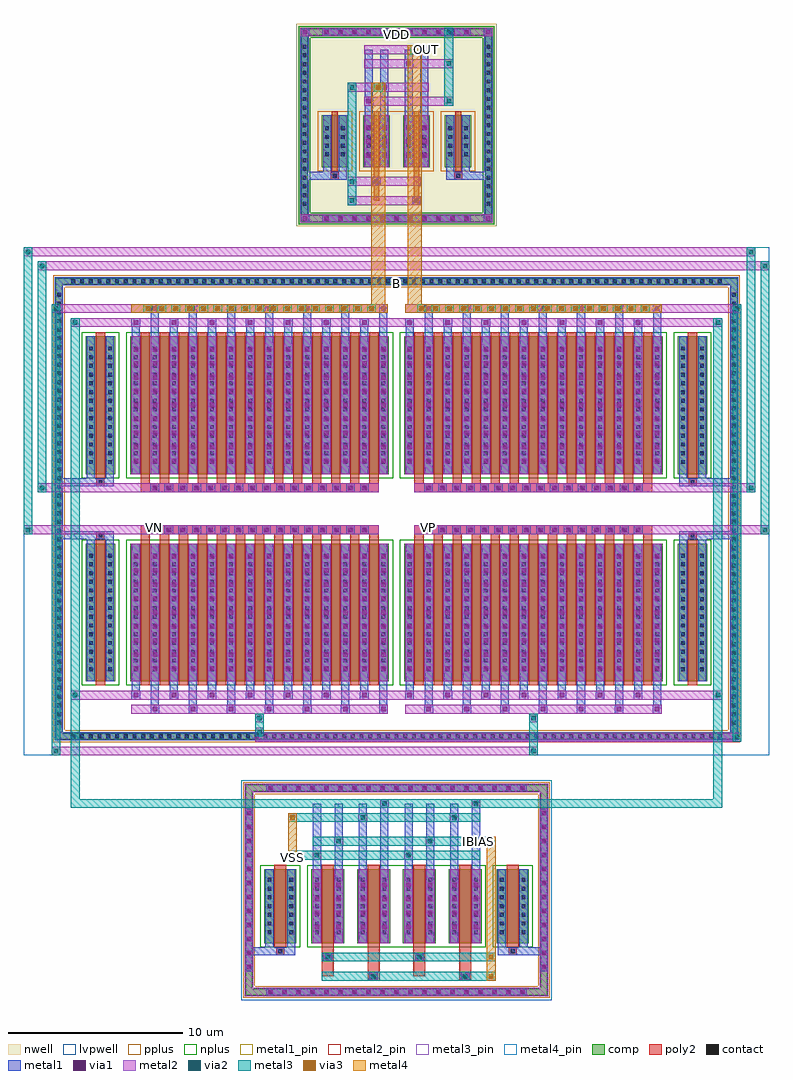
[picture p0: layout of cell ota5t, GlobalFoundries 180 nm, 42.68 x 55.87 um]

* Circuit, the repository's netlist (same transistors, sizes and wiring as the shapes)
* NGSPICE file created from ota5t.ext - technology: gf180mcuD

.subckt ota5t B VSS IBIAS VN VP VDD OUT
X0 a_n2822_1714# VP a_n3048_n658# B nfet_03v3 ad=2.2064p pd=8.44u as=2.2064p ps=8.44u w=7.88u l=0.53u
X1 a_n3048_n658# VN OUT B nfet_03v3 ad=2.2064p pd=8.44u as=2.2064p ps=8.44u w=7.88u l=0.53u
X2 a_n3048_n658# IBIAS VSS B nfet_03v3 ad=2.538p pd=9.66u as=2.538p ps=9.66u w=4.23u l=0.68u
X3 a_n3048_n658# VP a_n2822_1714# B nfet_03v3 ad=2.2064p pd=8.44u as=2.2064p ps=8.44u w=7.88u l=0.53u
X4 a_n3048_n658# VP a_n2822_1714# B nfet_03v3 ad=2.2064p pd=8.44u as=2.2064p ps=8.44u w=7.88u l=0.53u
X5 a_n2822_1714# VP a_n3048_n658# B nfet_03v3 ad=4.728p pd=16.96u as=2.2064p ps=8.44u w=7.88u l=0.53u
X6 a_n2822_1714# VP a_n3048_n658# B nfet_03v3 ad=2.2064p pd=8.44u as=2.2064p ps=8.44u w=7.88u l=0.53u
X7 a_n2822_1714# VP a_n3048_n658# B nfet_03v3 ad=4.728p pd=16.96u as=2.2064p ps=8.44u w=7.88u l=0.53u
X8 a_n2822_1714# VP a_n3048_n658# B nfet_03v3 ad=2.2064p pd=8.44u as=2.2064p ps=8.44u w=7.88u l=0.53u
X9 a_n3048_n658# VP a_n2822_1714# B nfet_03v3 ad=2.2064p pd=8.44u as=2.2064p ps=8.44u w=7.88u l=0.53u
X10 a_n3048_n658# VP a_n2822_1714# B nfet_03v3 ad=2.2064p pd=8.44u as=2.2064p ps=8.44u w=7.88u l=0.53u
X11 a_n3048_n658# VN OUT B nfet_03v3 ad=2.2064p pd=8.44u as=2.2064p ps=8.44u w=7.88u l=0.53u
X12 OUT VN a_n3048_n658# B nfet_03v3 ad=2.2064p pd=8.44u as=2.2064p ps=8.44u w=7.88u l=0.53u
X13 OUT VN a_n3048_n658# B nfet_03v3 ad=2.2064p pd=8.44u as=2.2064p ps=8.44u w=7.88u l=0.53u
X14 a_n3048_n658# VP a_n2822_1714# B nfet_03v3 ad=2.2064p pd=8.44u as=2.2064p ps=8.44u w=7.88u l=0.53u
X15 OUT VN a_n3048_n658# B nfet_03v3 ad=2.2064p pd=8.44u as=2.2064p ps=8.44u w=7.88u l=0.53u
X16 OUT VN a_n3048_n658# B nfet_03v3 ad=2.2064p pd=8.44u as=2.2064p ps=8.44u w=7.88u l=0.53u
X17 a_n3048_n658# VN OUT B nfet_03v3 ad=2.2064p pd=8.44u as=2.2064p ps=8.44u w=7.88u l=0.53u
X18 OUT VN a_n3048_n658# B nfet_03v3 ad=2.2064p pd=8.44u as=2.2064p ps=8.44u w=7.88u l=0.53u
X19 OUT VN a_n3048_n658# B nfet_03v3 ad=4.728p pd=16.96u as=2.2064p ps=8.44u w=7.88u l=0.53u
X20 a_n2822_1714# VP a_n3048_n658# B nfet_03v3 ad=2.2064p pd=8.44u as=4.728p ps=16.96u w=7.88u l=0.53u
X21 a_n3048_n658# VN OUT B nfet_03v3 ad=2.2064p pd=8.44u as=2.2064p ps=8.44u w=7.88u l=0.53u
X22 OUT a_n2822_1714# VDD VDD pfet_03v3 ad=1.794p pd=7.18u as=1.794p ps=7.18u w=2.99u l=0.34u
X23 B B B B nfet_03v3 ad=4.5704p pd=16.92u as=46.3768p ps=0.17384m w=7.88u l=0.53u
X24 a_n3048_n658# VP a_n2822_1714# B nfet_03v3 ad=2.2064p pd=8.44u as=2.2064p ps=8.44u w=7.88u l=0.53u
X25 OUT VN a_n3048_n658# B nfet_03v3 ad=2.2064p pd=8.44u as=2.2064p ps=8.44u w=7.88u l=0.53u
X26 OUT VN a_n3048_n658# B nfet_03v3 ad=2.2064p pd=8.44u as=4.728p ps=16.96u w=7.88u l=0.53u
X27 a_n3048_n658# VN OUT B nfet_03v3 ad=2.2064p pd=8.44u as=2.2064p ps=8.44u w=7.88u l=0.53u
X28 OUT VN a_n3048_n658# B nfet_03v3 ad=2.2064p pd=8.44u as=2.2064p ps=8.44u w=7.88u l=0.53u
X29 IBIAS IBIAS VSS B nfet_03v3 ad=2.538p pd=9.66u as=2.538p ps=9.66u w=4.23u l=0.68u
X30 a_n3048_n658# VN OUT B nfet_03v3 ad=2.2064p pd=8.44u as=2.2064p ps=8.44u w=7.88u l=0.53u
X31 a_n2822_1714# VP a_n3048_n658# B nfet_03v3 ad=2.2064p pd=8.44u as=2.2064p ps=8.44u w=7.88u l=0.53u
X32 a_n2822_1714# VP a_n3048_n658# B nfet_03v3 ad=2.2064p pd=8.44u as=2.2064p ps=8.44u w=7.88u l=0.53u
X33 a_n3048_n658# VP a_n2822_1714# B nfet_03v3 ad=2.2064p pd=8.44u as=2.2064p ps=8.44u w=7.88u l=0.53u
X34 a_n3048_n658# VP a_n2822_1714# B nfet_03v3 ad=2.2064p pd=8.44u as=2.2064p ps=8.44u w=7.88u l=0.53u
X35 OUT VN a_n3048_n658# B nfet_03v3 ad=2.2064p pd=8.44u as=4.728p ps=16.96u w=7.88u l=0.53u
X36 a_n2822_1714# VP a_n3048_n658# B nfet_03v3 ad=2.2064p pd=8.44u as=2.2064p ps=8.44u w=7.88u l=0.53u
X37 a_n2822_1714# VP a_n3048_n658# B nfet_03v3 ad=2.2064p pd=8.44u as=2.2064p ps=8.44u w=7.88u l=0.53u
X38 a_n3048_n658# VN OUT B nfet_03v3 ad=2.2064p pd=8.44u as=2.2064p ps=8.44u w=7.88u l=0.53u
X39 B B B B nfet_03v3 ad=4.5704p pd=16.92u as=0 ps=0 w=7.88u l=0.53u
X40 B B B B nfet_03v3 ad=4.5704p pd=16.92u as=0 ps=0 w=7.88u l=0.53u
X41 a_n2822_1714# a_n2822_1714# VDD VDD pfet_03v3 ad=1.794p pd=7.18u as=1.794p ps=7.18u w=2.99u l=0.34u
X42 a_n2822_1714# VP a_n3048_n658# B nfet_03v3 ad=2.2064p pd=8.44u as=2.2064p ps=8.44u w=7.88u l=0.53u
X43 a_n2822_1714# VP a_n3048_n658# B nfet_03v3 ad=2.2064p pd=8.44u as=4.728p ps=16.96u w=7.88u l=0.53u
X44 a_n3048_n658# VP a_n2822_1714# B nfet_03v3 ad=2.2064p pd=8.44u as=2.2064p ps=8.44u w=7.88u l=0.53u
X45 a_n3048_n658# VN OUT B nfet_03v3 ad=2.2064p pd=8.44u as=2.2064p ps=8.44u w=7.88u l=0.53u
X46 a_n2822_1714# VP a_n3048_n658# B nfet_03v3 ad=2.2064p pd=8.44u as=2.2064p ps=8.44u w=7.88u l=0.53u
X47 VDD VDD VDD VDD pfet_03v3 ad=1.7342p pd=7.14u as=10.5248p ps=42.92u w=2.99u l=0.34u
X48 a_n3048_n658# VP a_n2822_1714# B nfet_03v3 ad=2.2064p pd=8.44u as=2.2064p ps=8.44u w=7.88u l=0.53u
X49 a_n3048_n658# VN OUT B nfet_03v3 ad=2.2064p pd=8.44u as=2.2064p ps=8.44u w=7.88u l=0.53u
X50 B B B B nfet_03v3 ad=2.4534p pd=9.62u as=0 ps=0 w=4.23u l=0.68u
X51 VDD VDD VDD VDD pfet_03v3 ad=1.7342p pd=7.14u as=0 ps=0 w=2.99u l=0.34u
X52 a_n3048_n658# VN OUT B nfet_03v3 ad=2.2064p pd=8.44u as=2.2064p ps=8.44u w=7.88u l=0.53u
X53 OUT VN a_n3048_n658# B nfet_03v3 ad=2.2064p pd=8.44u as=2.2064p ps=8.44u w=7.88u l=0.53u
X54 a_n3048_n658# IBIAS VSS B nfet_03v3 ad=2.538p pd=9.66u as=2.538p ps=9.66u w=4.23u l=0.68u
X55 IBIAS IBIAS VSS B nfet_03v3 ad=2.538p pd=9.66u as=2.538p ps=9.66u w=4.23u l=0.68u
X56 a_n3048_n658# VN OUT B nfet_03v3 ad=2.2064p pd=8.44u as=2.2064p ps=8.44u w=7.88u l=0.53u
X57 OUT VN a_n3048_n658# B nfet_03v3 ad=2.2064p pd=8.44u as=2.2064p ps=8.44u w=7.88u l=0.53u
X58 OUT VN a_n3048_n658# B nfet_03v3 ad=4.728p pd=16.96u as=2.2064p ps=8.44u w=7.88u l=0.53u
X59 a_n3048_n658# VP a_n2822_1714# B nfet_03v3 ad=2.2064p pd=8.44u as=2.2064p ps=8.44u w=7.88u l=0.53u
X60 a_n3048_n658# VN OUT B nfet_03v3 ad=2.2064p pd=8.44u as=2.2064p ps=8.44u w=7.88u l=0.53u
X61 B B B B nfet_03v3 ad=4.5704p pd=16.92u as=0 ps=0 w=7.88u l=0.53u
X62 a_n2822_1714# VP a_n3048_n658# B nfet_03v3 ad=2.2064p pd=8.44u as=2.2064p ps=8.44u w=7.88u l=0.53u
X63 OUT VN a_n3048_n658# B nfet_03v3 ad=2.2064p pd=8.44u as=2.2064p ps=8.44u w=7.88u l=0.53u
X64 a_n3048_n658# VP a_n2822_1714# B nfet_03v3 ad=2.2064p pd=8.44u as=2.2064p ps=8.44u w=7.88u l=0.53u
X65 B B B B nfet_03v3 ad=2.4534p pd=9.62u as=0 ps=0 w=4.23u l=0.68u
.ends

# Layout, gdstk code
import gdstk
lib = gdstk.Library(unit=1e-6, precision=5e-09)
def R(c, l, rs):  # rectangles x0, y0, x1, y1
    for r in rs: c.add(gdstk.rectangle(r[:2], r[2:], *l))
def A(c, l, x, y, w, h, nx, ny, dx, dy):  # array of equal rectangles
    R(c, l, [(x+i*dx, y+j*dy, x+i*dx+w, y+j*dy+h) for i in range(nx) for j in range(ny)])
def P(c, l, *ps):  # polygons
    for p in ps: c.add(gdstk.Polygon(p, *l))
nwell = (21, 0)
comp = (22, 0)
poly2 = (30, 0)
pplus = (31, 0)
nplus = (32, 0)
contact = (33, 0)
metal1 = (34, 0)
metal1_pin = (34, 10)
via1 = (35, 0)
metal2 = (36, 0)
metal2_pin = (36, 10)
via2 = (38, 0)
via3 = (40, 0)
metal3 = (42, 0)
metal3_pin = (42, 10)
metal4 = (46, 0)
metal4_pin = (46, 10)
lvpwell = (204, 0)

ota5t = lib.new_cell('ota5t')
R(ota5t, nwell, [(-5.725,22.74,5.725,34.33), (-5.565,22.9,5.565,34.17), (-4.625,23.845,4.625,33.23)])
A(ota5t, comp, -7.38, -21.255, 0.36, 0.36, 19, 2, 0.8, 11.67)
A(ota5t, comp, -8.62, -19.82, 0.36, 0.36, 1, 12, 0, 0.8)
A(ota5t, comp, 8.26, -19.82, 0.36, 0.36, 1, 12, 0, 0.8)
A(ota5t, comp, -4.87, -18.275, 1.88, 4.23, 4, 1, 2.62, 0)
A(ota5t, comp, -18.68, -6.62, 0.36, 0.36, 75, 2, 0.5, 26.04)
A(ota5t, comp, -19.5, -5.85, 0.36, 0.36, 1, 50, 0, 0.5)
A(ota5t, comp, 19.14, -5.85, 0.36, 0.36, 1, 50, 0, 0.5)
A(ota5t, comp, -4.18, 23.02, 0.36, 0.36, 11, 2, 0.8, 10.67)
A(ota5t, comp, -5.445, 23.855, 0.36, 0.36, 1, 19, 0, 0.5)
A(ota5t, comp, 5.085, 23.855, 0.36, 0.36, 1, 19, 0, 0.5)
R(ota5t, comp, [(-7.38,-21.255,7.38,-20.895), (-8.62,-19.82,-8.26,-10.66), (8.26,-19.82,8.62,-10.66), (-7.57,-18.275,-5.73,-14.045), (5.73,-18.275,7.57,-14.045), (-7.38,-9.585,7.38,-9.225), (-18.68,-6.62,18.68,-6.26), (-19.5,-5.85,-19.14,19.01), (19.14,-5.85,19.5,19.01), (-17.79,-3.29,-16.1,4.59), (-15.24,-3.29,-0.43,4.59), (0.43,-3.29,15.24,4.59), (16.1,-3.29,17.79,4.59), (-17.79,8.57,-16.1,16.45), (-15.24,8.57,-0.43,16.45), (0.43,8.57,15.24,16.45), (16.1,8.57,17.79,16.45), (-18.68,19.42,18.68,19.78), (-4.18,23.02,4.18,23.38), (-5.445,23.855,-5.085,33.215), (5.085,23.855,5.445,33.215), (-4.275,26.12,-2.775,29.11), (-1.915,26.12,-0.375,29.11), (0.375,26.12,1.915,29.11), (2.775,26.12,4.275,29.11), (-4.18,33.69,4.18,34.05)])
P(ota5t, comp, [(19.5,19.78),(-19.5,19.78),(-19.5,-6.26),(-19.14,-6.26),(-19.14,19.42),(19.14,19.42),(19.14,-6.26),(-19.14,-6.26),(-19.5,-6.26),(-19.5,-6.62),(19.5,-6.62)],
  [(8.62,-9.225),(-8.62,-9.225),(-8.62,-20.895),(-8.26,-20.895),(-8.26,-9.585),(8.26,-9.585),(8.26,-20.895),(-8.26,-20.895),(-8.62,-20.895),(-8.62,-21.255),(8.62,-21.255)],
  [(5.445,34.05),(-5.445,34.05),(-5.445,23.38),(-5.085,23.38),(-5.085,33.69),(5.085,33.69),(5.085,23.38),(-5.085,23.38),(-5.445,23.38),(-5.445,23.02),(5.445,23.02)])
A(ota5t, poly2, -4.27, -18.52, 0.68, 4.72, 4, 1, 2.62, 0)
A(ota5t, poly2, -14.64, -3.53, 0.53, 8.36, 13, 2, 1.09, 11.86)
A(ota5t, poly2, 1.03, -3.53, 0.53, 8.36, 13, 2, 1.09, 11.86)
A(ota5t, poly2, -14.64, 4.83, 0.53, 0.3, 13, 2, 1.09, 3.2)
A(ota5t, poly2, 1.03, 4.83, 0.53, 0.3, 13, 2, 1.09, 3.2)
A(ota5t, poly2, -14.015, 5.2, 0.36, 0.36, 16, 2, 0.8, 2.4)
A(ota5t, poly2, 1.655, 5.2, 0.36, 0.36, 16, 2, 0.8, 2.4)
R(ota5t, poly2, [(-1.65,-20.43,-0.97,-19.93), (3.59,-20.43,4.27,-19.93), (-1.49,-20.36,-1.13,-20), (3.75,-20.36,4.11,-20), (-4.27,-20.18,-3.59,-18.52), (0.97,-20.18,1.65,-18.52), (-1.65,-19.93,-0.97,-18.52), (3.59,-19.93,4.27,-18.52), (-4.27,-19.32,-3.59,-18.82), (0.97,-19.32,1.65,-18.82), (-4.11,-19.25,-3.75,-18.89), (1.13,-19.25,1.49,-18.89), (-6.88,-18.98,-6.42,-18.52), (6.42,-18.98,6.88,-18.52), (-6.83,-18.93,-6.47,-18.57), (6.47,-18.93,6.83,-18.57), (-4.27,-18.82,-3.59,-18.52), (0.97,-18.82,1.65,-18.52), (-6.99,-18.52,-6.31,-13.8), (6.31,-18.52,6.99,-13.8), (-17.21,-3.53,-16.68,4.83), (16.68,-3.53,17.21,4.83), (-17.175,4.83,-16.715,5.29), (16.715,4.83,17.175,5.29), (-17.125,4.88,-16.765,5.24), (16.765,4.88,17.125,5.24), (-14.64,5.13,-1.03,5.63), (1.03,5.13,14.64,5.63), (-14.64,7.53,-1.03,8.03), (1.03,7.53,14.64,8.03), (-17.175,7.87,-16.715,8.33), (16.715,7.87,17.175,8.33), (-17.125,7.92,-16.765,8.28), (16.765,7.92,17.125,8.28), (-17.21,8.33,-16.68,16.69), (16.68,8.33,17.21,16.69), (0.895,23.965,1.395,24.465), (0.965,24.035,1.325,24.395), (-1.315,24.215,-0.975,25.88), (0.975,24.465,1.315,25.88), (-1.395,25.075,-0.895,25.575), (-1.325,25.145,-0.965,25.505), (-3.755,25.42,-3.295,25.88), (3.295,25.42,3.755,25.88), (-3.705,25.47,-3.345,25.83), (3.345,25.47,3.705,25.83), (-1.315,25.575,-0.975,25.88), (-3.695,25.88,-3.355,29.35), (-1.315,25.88,-0.975,29.35), (0.975,25.88,1.315,29.35), (3.355,25.88,3.695,29.35)])
R(ota5t, pplus, [(-4.505,25.89,-2.545,29.34), (-2.145,25.89,-0.145,29.34), (-2.145,25.89,2.145,29.34), (0.145,25.89,2.145,29.34), (2.545,25.89,4.505,29.34)])
P(ota5t, pplus, [(19.66,19.94),(-19.66,19.94),(-19.66,-6.1),(-18.98,-6.1),(-18.98,19.26),(18.98,19.26),(18.98,-6.1),(-18.98,-6.1),(-19.66,-6.1),(-19.66,-6.78),(19.66,-6.78)],
  [(8.78,-9.065),(-8.78,-9.065),(-8.78,-20.735),(-8.1,-20.735),(-8.1,-9.745),(8.1,-9.745),(8.1,-20.735),(-8.1,-20.735),(-8.78,-20.735),(-8.78,-21.415),(8.78,-21.415)])
A(ota5t, nplus, -5.1, -18.505, 2.34, 4.69, 4, 1, 2.62, 0)
R(ota5t, nplus, [(-7.8,-18.505,-5.5,-13.815), (-5.1,-18.505,5.1,-13.815), (5.5,-18.505,7.8,-13.815), (-18.02,-3.52,-15.87,4.82), (-15.47,-3.52,-0.2,4.82), (0.2,-3.52,15.47,4.82), (15.87,-3.52,18.02,4.82), (-18.02,8.34,-15.87,16.68), (-15.47,8.34,-0.2,16.68), (0.2,8.34,15.47,16.68), (15.87,8.34,18.02,16.68)])
P(ota5t, nplus, [(5.605,34.21),(-5.605,34.21),(-5.605,23.54),(-4.925,23.54),(-4.925,33.53),(4.925,33.53),(4.925,23.54),(-4.925,23.54),(-5.605,23.54),(-5.605,22.86),(5.605,22.86)])
A(ota5t, contact, -7.31, -21.185, 0.22, 0.22, 19, 2, 0.8, 11.67)
A(ota5t, contact, -8.55, -19.75, 0.22, 0.22, 1, 12, 0, 0.8)
A(ota5t, contact, 8.33, -19.75, 0.22, 0.22, 1, 12, 0, 0.8)
A(ota5t, contact, -7.38, -17.77, 0.22, 0.22, 1, 7, 0, 0.5)
A(ota5t, contact, -6.14, -17.77, 0.22, 0.22, 1, 7, 0, 0.5)
A(ota5t, contact, -4.66, -17.77, 0.22, 0.22, 1, 7, 0, 0.5)
A(ota5t, contact, -3.42, -17.77, 0.22, 0.22, 1, 7, 0, 0.5)
A(ota5t, contact, -2.04, -17.77, 0.22, 0.22, 1, 7, 0, 0.5)
A(ota5t, contact, -0.8, -17.77, 0.22, 0.22, 1, 7, 0, 0.5)
A(ota5t, contact, 0.58, -17.77, 0.22, 0.22, 1, 7, 0, 0.5)
A(ota5t, contact, 1.82, -17.77, 0.22, 0.22, 1, 7, 0, 0.5)
A(ota5t, contact, 3.2, -17.77, 0.22, 0.22, 1, 7, 0, 0.5)
A(ota5t, contact, 4.44, -17.77, 0.22, 0.22, 1, 7, 0, 0.5)
A(ota5t, contact, 5.92, -17.77, 0.22, 0.22, 1, 7, 0, 0.5)
A(ota5t, contact, 7.16, -17.77, 0.22, 0.22, 1, 7, 0, 0.5)
A(ota5t, contact, -18.61, -6.55, 0.22, 0.22, 75, 2, 0.5, 26.04)
A(ota5t, contact, -19.43, -5.78, 0.22, 0.22, 1, 50, 0, 0.5)
A(ota5t, contact, 19.21, -5.78, 0.22, 0.22, 1, 50, 0, 0.5)
A(ota5t, contact, -17.6, -2.71, 0.22, 0.22, 1, 14, 0, 0.5)
A(ota5t, contact, -16.51, -2.71, 0.22, 0.22, 1, 14, 0, 0.5)
A(ota5t, contact, -15.03, -2.71, 0.22, 0.22, 14, 14, 1.09, 0.5)
A(ota5t, contact, 0.64, -2.71, 0.22, 0.22, 14, 14, 1.09, 0.5)
A(ota5t, contact, 16.29, -2.71, 0.22, 0.22, 1, 14, 0, 0.5)
A(ota5t, contact, 17.38, -2.71, 0.22, 0.22, 1, 14, 0, 0.5)
A(ota5t, contact, -13.945, 5.27, 0.22, 0.22, 16, 2, 0.8, 2.4)
A(ota5t, contact, 1.725, 5.27, 0.22, 0.22, 16, 2, 0.8, 2.4)
A(ota5t, contact, -17.6, 9.15, 0.22, 0.22, 1, 14, 0, 0.5)
A(ota5t, contact, -16.51, 9.15, 0.22, 0.22, 1, 14, 0, 0.5)
A(ota5t, contact, -15.03, 9.15, 0.22, 0.22, 14, 14, 1.09, 0.5)
A(ota5t, contact, 0.64, 9.15, 0.22, 0.22, 14, 14, 1.09, 0.5)
A(ota5t, contact, 16.29, 9.15, 0.22, 0.22, 1, 14, 0, 0.5)
A(ota5t, contact, 17.38, 9.15, 0.22, 0.22, 1, 14, 0, 0.5)
A(ota5t, contact, -4.11, 23.09, 0.22, 0.22, 11, 2, 0.8, 10.67)
A(ota5t, contact, -5.375, 23.925, 0.22, 0.22, 1, 19, 0, 0.5)
A(ota5t, contact, 5.155, 23.925, 0.22, 0.22, 1, 19, 0, 0.5)
A(ota5t, contact, -4.085, 26.755, 0.22, 0.22, 1, 4, 0, 0.5)
A(ota5t, contact, -3.185, 26.755, 0.22, 0.22, 1, 4, 0, 0.5)
A(ota5t, contact, -1.705, 26.755, 0.22, 0.22, 1, 4, 0, 0.5)
A(ota5t, contact, -0.805, 26.755, 0.22, 0.22, 1, 4, 0, 0.5)
A(ota5t, contact, 0.585, 26.755, 0.22, 0.22, 1, 4, 0, 0.5)
A(ota5t, contact, 1.485, 26.755, 0.22, 0.22, 1, 4, 0, 0.5)
A(ota5t, contact, 2.965, 26.755, 0.22, 0.22, 1, 4, 0, 0.5)
A(ota5t, contact, 3.865, 26.755, 0.22, 0.22, 1, 4, 0, 0.5)
R(ota5t, contact, [(-1.42,-20.29,-1.2,-20.07), (3.82,-20.29,4.04,-20.07), (-4.04,-19.18,-3.82,-18.96), (1.2,-19.18,1.42,-18.96), (-6.76,-18.86,-6.54,-18.64), (6.54,-18.86,6.76,-18.64), (-17.055,4.95,-16.835,5.17), (16.835,4.95,17.055,5.17), (-17.055,7.99,-16.835,8.21), (16.835,7.99,17.055,8.21), (1.035,24.105,1.255,24.325), (-1.255,25.215,-1.035,25.435), (-3.635,25.54,-3.415,25.76), (3.415,25.54,3.635,25.76)])
A(ota5t, metal1, -7.45, -21.325, 0.5, 0.5, 19, 2, 0.8, 11.67)
A(ota5t, metal1, -8.69, -19.89, 0.5, 0.5, 1, 12, 0, 0.8)
A(ota5t, metal1, 8.19, -19.89, 0.5, 0.5, 1, 12, 0, 0.8)
A(ota5t, metal1, -7.5, -17.89, 0.46, 0.46, 1, 7, 0, 0.5)
A(ota5t, metal1, -6.26, -17.89, 0.46, 0.46, 1, 7, 0, 0.5)
A(ota5t, metal1, -4.78, -17.89, 0.46, 0.46, 1, 7, 0, 0.5)
A(ota5t, metal1, -3.54, -17.89, 0.46, 0.46, 1, 7, 0, 0.5)
A(ota5t, metal1, -2.16, -17.89, 0.46, 0.46, 1, 7, 0, 0.5)
A(ota5t, metal1, -0.92, -17.89, 0.46, 0.46, 1, 7, 0, 0.5)
A(ota5t, metal1, 0.46, -17.89, 0.46, 0.46, 1, 7, 0, 0.5)
A(ota5t, metal1, 1.7, -17.89, 0.46, 0.46, 1, 7, 0, 0.5)
A(ota5t, metal1, 3.08, -17.89, 0.46, 0.46, 1, 7, 0, 0.5)
A(ota5t, metal1, 4.32, -17.89, 0.46, 0.46, 1, 7, 0, 0.5)
A(ota5t, metal1, 5.8, -17.89, 0.46, 0.46, 1, 7, 0, 0.5)
A(ota5t, metal1, 7.04, -17.89, 0.46, 0.46, 1, 7, 0, 0.5)
A(ota5t, metal1, -4.8, -17.61, 0.5, 0.5, 1, 4, 0, 0.8)
A(ota5t, metal1, -3.56, -17.61, 0.5, 0.5, 1, 4, 0, 0.8)
A(ota5t, metal1, -2.18, -17.61, 0.5, 0.5, 1, 4, 0, 0.8)
A(ota5t, metal1, -0.94, -17.61, 0.5, 0.5, 1, 4, 0, 0.8)
A(ota5t, metal1, 0.44, -17.61, 0.5, 0.5, 1, 4, 0, 0.8)
A(ota5t, metal1, 1.68, -17.61, 0.5, 0.5, 1, 4, 0, 0.8)
A(ota5t, metal1, 3.06, -17.61, 0.5, 0.5, 1, 4, 0, 0.8)
A(ota5t, metal1, 4.3, -17.61, 0.5, 0.5, 1, 4, 0, 0.8)
A(ota5t, metal1, -18.73, -6.67, 0.46, 0.46, 75, 2, 0.5, 26.04)
A(ota5t, metal1, -19.55, -5.9, 0.46, 0.46, 1, 50, 0, 0.5)
A(ota5t, metal1, 19.09, -5.9, 0.46, 0.46, 1, 50, 0, 0.5)
A(ota5t, metal1, -14.08, -5.14, 0.5, 0.5, 7, 2, 2.18, 22.94)
A(ota5t, metal1, -14.06, -5.14, 0.46, 1.85, 7, 2, 2.18, 21.59)
A(ota5t, metal1, 1.59, -5.14, 0.5, 0.5, 7, 2, 2.18, 22.94)
A(ota5t, metal1, 1.61, -5.14, 0.46, 1.85, 7, 2, 2.18, 21.59)
A(ota5t, metal1, -15.17, -4.34, 0.5, 0.5, 7, 2, 2.18, 21.34)
A(ota5t, metal1, -15.15, -4.34, 0.46, 1.05, 7, 2, 2.18, 20.79)
A(ota5t, metal1, 0.5, -4.34, 0.5, 0.5, 7, 2, 2.18, 21.34)
A(ota5t, metal1, 0.52, -4.34, 0.46, 1.05, 7, 2, 2.18, 20.79)
A(ota5t, metal1, -15.15, -3.29, 0.46, 7.88, 14, 2, 1.09, 11.86)
A(ota5t, metal1, 0.52, -3.29, 0.46, 7.88, 14, 2, 1.09, 11.86)
A(ota5t, metal1, -17.72, -2.83, 0.46, 0.46, 1, 14, 0, 0.5)
A(ota5t, metal1, -16.63, -2.83, 0.46, 0.46, 1, 14, 0, 0.5)
A(ota5t, metal1, -15.15, -2.83, 0.46, 0.46, 14, 14, 1.09, 0.5)
A(ota5t, metal1, 0.52, -2.83, 0.46, 0.46, 14, 14, 1.09, 0.5)
A(ota5t, metal1, 16.17, -2.83, 0.46, 0.46, 1, 14, 0, 0.5)
A(ota5t, metal1, 17.26, -2.83, 0.46, 0.46, 1, 14, 0, 0.5)
A(ota5t, metal1, -15.17, -2.8, 0.5, 0.5, 14, 9, 1.09, 0.8)
A(ota5t, metal1, -15.17, -2.8, 0.5, 6.9, 14, 2, 1.09, 11.86)
A(ota5t, metal1, 0.5, -2.8, 0.5, 0.5, 14, 9, 1.09, 0.8)
A(ota5t, metal1, 0.5, -2.8, 0.5, 6.9, 14, 2, 1.09, 11.86)
A(ota5t, metal1, -14.085, 5.13, 0.5, 0.5, 16, 2, 0.8, 2.4)
A(ota5t, metal1, 1.585, 5.13, 0.5, 0.5, 16, 2, 0.8, 2.4)
A(ota5t, metal1, -17.72, 9.03, 0.46, 0.46, 1, 14, 0, 0.5)
A(ota5t, metal1, -16.63, 9.03, 0.46, 0.46, 1, 14, 0, 0.5)
A(ota5t, metal1, -15.15, 9.03, 0.46, 0.46, 14, 14, 1.09, 0.5)
A(ota5t, metal1, 0.52, 9.03, 0.46, 0.46, 14, 14, 1.09, 0.5)
A(ota5t, metal1, 16.17, 9.03, 0.46, 0.46, 1, 14, 0, 0.5)
A(ota5t, metal1, 17.26, 9.03, 0.46, 0.46, 1, 14, 0, 0.5)
A(ota5t, metal1, -15.17, 9.06, 0.5, 0.5, 14, 9, 1.09, 0.8)
A(ota5t, metal1, 0.5, 9.06, 0.5, 0.5, 14, 9, 1.09, 0.8)
A(ota5t, metal1, -4.25, 22.95, 0.5, 0.5, 11, 2, 0.8, 10.67)
A(ota5t, metal1, -5.495, 23.805, 0.46, 0.46, 1, 19, 0, 0.5)
A(ota5t, metal1, 5.035, 23.805, 0.46, 0.46, 1, 19, 0, 0.5)
A(ota5t, metal1, -1.845, 26.565, 0.5, 0.5, 1, 3, 0, 0.8)
A(ota5t, metal1, -0.945, 26.565, 0.5, 0.5, 1, 3, 0, 0.8)
A(ota5t, metal1, 0.445, 26.565, 0.5, 0.5, 1, 3, 0, 0.8)
A(ota5t, metal1, 1.345, 26.565, 0.5, 0.5, 1, 3, 0, 0.8)
A(ota5t, metal1, -4.205, 26.635, 0.46, 0.46, 1, 4, 0, 0.5)
A(ota5t, metal1, -3.305, 26.635, 0.46, 0.46, 1, 4, 0, 0.5)
A(ota5t, metal1, -1.825, 26.635, 0.46, 0.46, 1, 4, 0, 0.5)
A(ota5t, metal1, -0.925, 26.635, 0.46, 0.46, 1, 4, 0, 0.5)
A(ota5t, metal1, 0.465, 26.635, 0.46, 0.46, 1, 4, 0, 0.5)
A(ota5t, metal1, 1.365, 26.635, 0.46, 0.46, 1, 4, 0, 0.5)
A(ota5t, metal1, 2.845, 26.635, 0.46, 0.46, 1, 4, 0, 0.5)
A(ota5t, metal1, 3.745, 26.635, 0.46, 0.46, 1, 4, 0, 0.5)
R(ota5t, metal1, [(-7.45,-21.325,7.45,-20.825), (-1.56,-20.43,-1.06,-19.93), (3.68,-20.43,4.18,-19.93), (-8.69,-19.89,-8.19,-10.59), (8.19,-19.89,8.69,-10.59), (-4.18,-19.32,-3.68,-18.82), (1.06,-19.32,1.56,-18.82), (-8.69,-18.98,-6.88,-18.52), (-7.5,-18.98,-6.88,-18.52), (-7.5,-18.98,-7.04,-18.275), (-6.88,-18.98,-6.42,-18.52), (-6.42,-18.98,-5.8,-18.52), (-6.26,-18.98,-5.8,-18.275), (5.8,-18.98,6.42,-18.52), (5.8,-18.98,6.26,-18.275), (6.42,-18.98,6.88,-18.52), (6.88,-18.98,7.5,-18.52), (6.88,-18.98,8.69,-18.52), (7.04,-18.98,7.5,-18.275), (-7.5,-18.275,-7.04,-14.045), (-6.26,-18.275,-5.8,-14.045), (-4.78,-18.275,-4.32,-14.045), (-3.54,-18.275,-3.08,-14.045), (-2.16,-18.275,-1.7,-14.045), (-0.92,-18.275,-0.46,-14.045), (0.46,-18.275,0.92,-14.045), (1.7,-18.275,2.16,-14.045), (3.08,-18.275,3.54,-14.045), (4.32,-18.275,4.78,-14.045), (5.8,-18.275,6.26,-14.045), (7.04,-18.275,7.5,-14.045), (-4.8,-17.61,-4.3,-14.71), (-3.56,-17.61,-3.06,-14.71), (-2.18,-17.61,-1.68,-14.71), (-0.94,-17.61,-0.44,-14.71), (0.44,-17.61,0.94,-14.71), (1.68,-17.61,2.18,-14.71), (3.06,-17.61,3.56,-14.71), (4.3,-17.61,4.8,-14.71), (-4.78,-14.045,-4.32,-12.995), (-4.78,-14.045,-4.32,-10.295), (-3.54,-14.045,-3.08,-12.195), (-3.54,-14.045,-3.08,-10.295), (-2.16,-14.045,-1.7,-10.845), (-2.16,-14.045,-1.7,-10.295), (-0.92,-14.045,-0.46,-10.045), (-0.92,-14.045,-0.46,-10.295), (0.46,-14.045,0.92,-12.995), (0.46,-14.045,0.92,-10.295), (1.7,-14.045,2.16,-12.195), (1.7,-14.045,2.16,-10.295), (3.08,-14.045,3.54,-10.845), (3.08,-14.045,3.54,-10.295), (4.32,-14.045,4.78,-10.045), (4.32,-14.045,4.78,-10.295), (-4.8,-13.495,-4.3,-12.995), (0.44,-13.495,0.94,-12.995), (-3.56,-12.695,-3.06,-12.195), (1.68,-12.695,2.18,-12.195), (-2.18,-11.345,-1.68,-10.845), (3.06,-11.345,3.56,-10.845), (-0.94,-10.545,-0.44,-10.045), (4.3,-10.545,4.8,-10.045), (-7.45,-9.655,7.45,-9.155), (-19.55,-6.67,-19.14,-6.21), (-19.55,-6.67,-19.09,-6.26), (-19.14,-6.67,19.14,-6.21), (19.09,-6.67,19.55,-6.26), (19.14,-6.67,19.55,-6.21), (-19.55,-6.26,-19.09,19.42), (19.09,-6.26,19.55,19.42), (-17.72,-3.29,-17.26,4.59), (-16.63,-3.29,-16.17,4.59), (16.17,-3.29,16.63,4.59), (17.26,-3.29,17.72,4.59), (-17.72,4.59,-17.26,5.29), (-16.63,4.59,-16.17,5.29), (16.17,4.59,16.63,5.29), (17.26,4.59,17.72,5.29), (-19.55,4.83,-17.175,5.29), (-17.72,4.83,-17.175,5.29), (-17.175,4.83,-16.715,5.29), (-16.715,4.83,-16.17,5.29), (16.17,4.83,16.715,5.29), (16.715,4.83,17.175,5.29), (16.715,4.83,19.55,5.29), (17.175,4.83,17.72,5.29), (-19.55,7.87,-17.175,8.33), (-17.72,7.87,-17.175,8.33), (-17.72,7.87,-17.26,8.57), (-17.175,7.87,-16.715,8.33), (-16.715,7.87,-16.17,8.33), (-16.63,7.87,-16.17,8.57), (16.17,7.87,16.715,8.33), (16.17,7.87,16.63,8.57), (16.715,7.87,17.175,8.33), (16.715,7.87,19.55,8.33), (17.175,7.87,17.72,8.33), (17.26,7.87,17.72,8.57), (-17.72,8.57,-17.26,16.45), (-16.63,8.57,-16.17,16.45), (16.17,8.57,16.63,16.45), (17.26,8.57,17.72,16.45), (-19.55,19.37,-19.14,19.83), (-19.14,19.37,19.14,19.83), (19.14,19.37,19.55,19.83), (-19.55,19.42,-19.09,19.83), (19.09,19.42,19.55,19.83), (-5.495,22.95,-4.995,23.45), (-5.495,22.95,-4.995,23.45), (-5.495,22.95,-5.035,23.38), (-4.25,22.95,4.25,23.45), (4.995,22.95,5.495,23.45), (4.995,22.95,5.495,23.45), (5.035,22.95,5.495,23.38), (-5.495,23.38,-5.035,33.69), (5.035,23.38,5.495,33.69), (0.895,23.965,1.395,24.465), (-1.395,25.075,-0.895,25.575), (-5.495,25.42,-3.755,25.88), (-4.205,25.42,-3.745,26.12), (-4.205,25.42,-3.755,25.88), (-3.755,25.42,-3.295,25.88), (-3.305,25.42,-2.845,26.12), (-3.295,25.42,-2.845,25.88), (2.845,25.42,3.305,26.12), (2.845,25.42,3.295,25.88), (3.295,25.42,3.755,25.88), (3.745,25.42,4.205,26.12), (3.755,25.42,4.205,25.88), (3.755,25.42,5.495,25.88), (-4.205,26.12,-3.745,29.11), (-3.305,26.12,-2.845,29.11), (-1.825,26.12,-1.365,29.11), (-0.925,26.12,-0.465,29.11), (0.465,26.12,0.925,29.11), (1.365,26.12,1.825,29.11), (2.845,26.12,3.305,29.11), (3.745,26.12,4.205,29.11), (-1.845,26.565,-1.345,28.665), (-0.945,26.565,-0.445,28.665), (0.445,26.565,0.945,28.665), (1.345,26.565,1.845,28.665), (-1.825,29.11,-1.365,30.16), (-1.825,29.11,-1.365,32.86), (-0.925,29.11,-0.465,30.96), (-0.925,29.11,-0.465,32.86), (0.465,29.11,0.925,32.31), (0.465,29.11,0.925,32.86), (1.365,29.11,1.825,33.11), (1.365,29.11,1.825,32.86), (-1.845,29.66,-1.345,30.16), (-0.945,30.46,-0.445,30.96), (0.445,31.81,0.945,32.31), (1.345,32.61,1.845,33.11), (-5.495,33.62,-4.995,34.12), (-5.495,33.62,-4.995,34.12), (-4.25,33.62,4.25,34.12), (4.995,33.62,5.495,34.12), (4.995,33.62,5.495,34.12), (-5.495,33.69,-5.035,34.12), (5.035,33.69,5.495,34.12)])
R(ota5t, metal1_pin, [(-0.135,19.37,0.135,19.64), (-0.135,19.37,0.135,19.64)])
A(ota5t, via1, -7.33, -21.205, 0.26, 0.26, 19, 2, 0.8, 11.67)
A(ota5t, via1, -8.57, -19.77, 0.26, 0.26, 1, 12, 0, 0.8)
A(ota5t, via1, 8.31, -19.77, 0.26, 0.26, 1, 12, 0, 0.8)
A(ota5t, via1, -4.68, -17.49, 0.26, 0.26, 1, 4, 0, 0.8)
A(ota5t, via1, -3.44, -17.49, 0.26, 0.26, 1, 4, 0, 0.8)
A(ota5t, via1, -2.06, -17.49, 0.26, 0.26, 1, 4, 0, 0.8)
A(ota5t, via1, -0.82, -17.49, 0.26, 0.26, 1, 4, 0, 0.8)
A(ota5t, via1, 0.56, -17.49, 0.26, 0.26, 1, 4, 0, 0.8)
A(ota5t, via1, 1.8, -17.49, 0.26, 0.26, 1, 4, 0, 0.8)
A(ota5t, via1, 3.18, -17.49, 0.26, 0.26, 1, 4, 0, 0.8)
A(ota5t, via1, 4.42, -17.49, 0.26, 0.26, 1, 4, 0, 0.8)
A(ota5t, via1, -13.96, -5.02, 0.26, 0.26, 7, 2, 2.18, 22.94)
A(ota5t, via1, 1.71, -5.02, 0.26, 0.26, 7, 2, 2.18, 22.94)
A(ota5t, via1, -15.05, -4.22, 0.26, 0.26, 7, 2, 2.18, 21.34)
A(ota5t, via1, 0.62, -4.22, 0.26, 0.26, 7, 2, 2.18, 21.34)
A(ota5t, via1, -15.05, -2.68, 0.26, 0.26, 14, 9, 1.09, 0.8)
A(ota5t, via1, 0.62, -2.68, 0.26, 0.26, 14, 9, 1.09, 0.8)
A(ota5t, via1, -13.965, 5.25, 0.26, 0.26, 16, 2, 0.8, 2.4)
A(ota5t, via1, 1.705, 5.25, 0.26, 0.26, 16, 2, 0.8, 2.4)
A(ota5t, via1, -15.05, 9.18, 0.26, 0.26, 14, 9, 1.09, 0.8)
A(ota5t, via1, 0.62, 9.18, 0.26, 0.26, 14, 9, 1.09, 0.8)
A(ota5t, via1, -4.13, 23.07, 0.26, 0.26, 11, 2, 0.8, 10.67)
A(ota5t, via1, -1.725, 26.685, 0.26, 0.26, 1, 3, 0, 0.8)
A(ota5t, via1, -0.825, 26.685, 0.26, 0.26, 1, 3, 0, 0.8)
A(ota5t, via1, 0.565, 26.685, 0.26, 0.26, 1, 3, 0, 0.8)
A(ota5t, via1, 1.465, 26.685, 0.26, 0.26, 1, 3, 0, 0.8)
R(ota5t, via1, [(-1.44,-20.31,-1.18,-20.05), (3.8,-20.31,4.06,-20.05), (-4.06,-19.2,-3.8,-18.94), (1.18,-19.2,1.44,-18.94), (-4.68,-13.375,-4.42,-13.115), (0.56,-13.375,0.82,-13.115), (-3.44,-12.575,-3.18,-12.315), (1.8,-12.575,2.06,-12.315), (-2.06,-11.225,-1.8,-10.965), (3.18,-11.225,3.44,-10.965), (-0.82,-10.425,-0.56,-10.165), (4.42,-10.425,4.68,-10.165), (-5.375,23.07,-5.115,23.33), (5.115,23.07,5.375,23.33), (1.015,24.085,1.275,24.345), (-1.275,25.195,-1.015,25.455), (-1.725,29.78,-1.465,30.04), (-0.825,30.58,-0.565,30.84), (0.565,31.93,0.825,32.19), (1.465,32.73,1.725,32.99), (-5.375,33.74,-5.115,34), (5.115,33.74,5.375,34)])
A(ota5t, metal2, -7.45, -21.325, 0.5, 0.5, 19, 2, 0.8, 11.67)
A(ota5t, metal2, -8.69, -19.89, 0.5, 0.5, 1, 12, 0, 0.8)
A(ota5t, metal2, 8.19, -19.89, 0.5, 0.5, 1, 12, 0, 0.8)
A(ota5t, metal2, -4.8, -17.61, 0.5, 0.5, 1, 4, 0, 0.8)
A(ota5t, metal2, -3.56, -17.61, 0.5, 0.5, 1, 4, 0, 0.8)
A(ota5t, metal2, -2.18, -17.61, 0.5, 0.5, 1, 4, 0, 0.8)
A(ota5t, metal2, -0.94, -17.61, 0.5, 0.5, 1, 4, 0, 0.8)
A(ota5t, metal2, 0.44, -17.61, 0.5, 0.5, 1, 4, 0, 0.8)
A(ota5t, metal2, 1.68, -17.61, 0.5, 0.5, 1, 4, 0, 0.8)
A(ota5t, metal2, 3.06, -17.61, 0.5, 0.5, 1, 4, 0, 0.8)
A(ota5t, metal2, 4.3, -17.61, 0.5, 0.5, 1, 4, 0, 0.8)
A(ota5t, metal2, -14.08, -5.14, 0.5, 0.5, 7, 2, 2.18, 22.94)
A(ota5t, metal2, 1.59, -5.14, 0.5, 0.5, 7, 2, 2.18, 22.94)
A(ota5t, metal2, -15.17, -4.34, 0.5, 0.5, 7, 2, 2.18, 21.34)
A(ota5t, metal2, 0.5, -4.34, 0.5, 0.5, 7, 2, 2.18, 21.34)
A(ota5t, metal2, -15.17, -3.29, 0.5, 7.88, 14, 2, 1.09, 11.86)
A(ota5t, metal2, 0.5, -3.29, 0.5, 7.88, 14, 2, 1.09, 11.86)
A(ota5t, metal2, -15.17, -2.8, 0.5, 0.5, 14, 9, 1.09, 0.8)
A(ota5t, metal2, 0.5, -2.8, 0.5, 0.5, 14, 9, 1.09, 0.8)
A(ota5t, metal2, -14.085, 5.13, 0.5, 0.5, 16, 2, 0.8, 2.4)
A(ota5t, metal2, 1.585, 5.13, 0.5, 0.5, 16, 2, 0.8, 2.4)
A(ota5t, metal2, -15.17, 9.06, 0.5, 0.5, 14, 9, 1.09, 0.8)
A(ota5t, metal2, 0.5, 9.06, 0.5, 0.5, 14, 9, 1.09, 0.8)
A(ota5t, metal2, -4.25, 22.95, 0.5, 0.5, 11, 1, 0.8, 0)
A(ota5t, metal2, -1.845, 26.565, 0.5, 0.5, 1, 3, 0, 0.8)
A(ota5t, metal2, -0.945, 26.565, 0.5, 0.5, 1, 3, 0, 0.8)
A(ota5t, metal2, 0.445, 26.565, 0.5, 0.5, 1, 3, 0, 0.8)
A(ota5t, metal2, 1.345, 26.565, 0.5, 0.5, 1, 3, 0, 0.8)
A(ota5t, metal2, -4.25, 33.62, 0.5, 0.5, 9, 1, 0.8, 0)
R(ota5t, metal2, [(-8.69,-21.325,-8.26,-20.825), (-8.69,-21.325,-8.19,-20.895), (-8.26,-21.325,8.26,-20.825), (8.19,-21.325,8.69,-20.895), (8.26,-21.325,8.69,-20.825), (-8.69,-20.895,-8.19,-9.585), (8.19,-20.895,8.69,-9.585), (-1.56,-20.43,-1.06,-19.93), (3.68,-20.43,4.18,-19.93), (-4.18,-19.32,-3.68,-18.82), (1.06,-19.32,1.56,-18.82), (-4.8,-18.275,-4.3,-14.045), (-3.56,-18.275,-3.06,-14.045), (-2.18,-18.275,-1.68,-14.045), (-0.94,-18.275,-0.44,-14.045), (0.44,-18.275,0.94,-14.045), (1.68,-18.275,2.18,-14.045), (3.06,-18.275,3.56,-14.045), (4.3,-18.275,4.8,-14.045), (-4.8,-13.495,-4.3,-12.995), (0.44,-13.495,0.94,-12.995), (-3.56,-12.695,-3.06,-12.195), (1.68,-12.695,2.18,-12.195), (-2.18,-11.345,-1.68,-10.845), (3.06,-11.345,3.56,-10.845), (-0.94,-10.545,-0.44,-10.045), (4.3,-10.545,4.8,-10.045), (-8.69,-9.655,-8.26,-9.155), (-8.26,-9.655,8.26,-9.155), (8.26,-9.655,8.69,-9.155), (-8.69,-9.585,-8.19,-9.155), (8.19,-9.585,8.69,-9.155), (-19.74,-7.54,-19.24,-7.04), (-19.74,-7.54,8.085,-7.04), (7.585,-7.54,8.085,-7.04), (-8.085,-6.74,19.74,-6.24), (19.24,-6.74,19.74,-6.24), (-8.085,-6.44,-7.585,-5.94), (-8.085,-5.64,-7.585,-5.14), (7.585,-5.64,8.085,-5.14), (-15.17,-5.14,-0.5,-4.64), (0.5,-5.14,15.17,-4.64), (-18.64,-4.34,-18.14,-3.84), (-18.64,-4.34,-15.17,-3.84), (-15.17,-4.34,-0.5,-3.84), (-0.5,-4.34,0.5,-3.84), (0.5,-4.34,15.17,-3.84), (15.17,-4.34,18.64,-3.84), (18.14,-4.34,18.64,-3.84), (-21.34,5.13,-20.84,5.63), (-21.34,5.13,-1.03,5.63), (-14.64,5.13,-1.03,5.63), (1.03,5.13,14.64,5.63), (1.03,5.13,21.34,5.63), (20.84,5.13,21.34,5.63), (-20.54,7.53,-20.04,8.03), (-20.54,7.53,-14.64,8.03), (-14.64,7.53,-1.03,8.03), (1.03,7.53,14.64,8.03), (14.64,7.53,20.54,8.03), (20.04,7.53,20.54,8.03), (-18.64,17,-18.14,17.5), (-18.64,17,-15.17,17.5), (-15.17,17,-0.5,17.5), (-0.5,17,0.5,17.5), (0.5,17,15.17,17.5), (15.17,17,18.64,17.5), (18.14,17,18.64,17.5), (-19.74,17.8,-19.24,18.3), (-19.74,17.8,-15.17,18.3), (-15.17,17.8,-0.5,18.3), (0.5,17.8,15.17,18.3), (15.17,17.8,19.74,18.3), (19.24,17.8,19.74,18.3), (-20.54,20.24,-20.04,20.74), (-20.54,20.24,-18.14,20.74), (-18.14,20.24,18.14,20.74), (18.14,20.24,21.34,20.74), (20.84,20.24,21.34,20.74), (-21.34,21.04,-20.84,21.54), (-21.34,21.04,-18.14,21.54), (-18.14,21.04,18.14,21.54), (18.14,21.04,20.54,21.54), (20.04,21.04,20.54,21.54), (-5.495,22.95,-4.995,23.45), (-5.495,22.95,-4.995,23.45), (-5.495,22.95,-5.085,23.45), (-5.085,22.95,5.085,23.45), (4.995,22.95,5.495,23.45), (4.995,22.95,5.495,23.45), (5.085,22.95,5.495,23.45), (-2.795,23.965,-2.295,24.465), (-2.795,23.965,-1.395,24.465), (-1.395,23.965,1.395,24.465), (0.895,23.965,1.395,24.465), (0.895,23.965,1.395,24.465), (-2.795,25.075,-2.295,25.575), (-2.795,25.075,-1.395,25.575), (-1.395,25.075,-0.895,25.575), (-1.395,25.075,-0.895,25.575), (-1.395,25.075,1.395,25.575), (-1.845,26.12,-1.345,29.11), (-0.945,26.12,-0.445,29.11), (0.445,26.12,0.945,29.11), (1.345,26.12,1.845,29.11), (-1.845,29.66,-1.345,30.16), (-1.845,29.66,-0.445,30.16), (-1.845,29.66,1.845,30.16), (1.845,29.66,3.245,30.16), (2.745,29.66,3.245,30.16), (-2.795,30.46,-2.295,30.96), (-2.795,30.46,-2.295,30.96), (-2.795,30.46,-1.845,30.96), (-1.845,30.46,-0.445,30.96), (-1.845,30.46,1.845,30.96), (-0.945,30.46,-0.445,30.96), (-1.845,31.81,1.845,32.31), (0.445,31.81,0.945,32.31), (0.445,31.81,1.845,32.31), (1.845,31.81,3.245,32.31), (2.745,31.81,3.245,32.31), (-1.845,32.61,1.845,33.11), (0.445,32.61,1.845,33.11), (1.345,32.61,1.845,33.11), (-5.495,33.62,-4.995,34.12), (-5.495,33.62,-4.995,34.12), (-5.495,33.62,-5.085,34.12), (-5.085,33.62,5.085,34.12), (2.745,33.62,3.245,34.12), (2.95,33.62,3.45,34.12), (3.75,33.62,4.25,34.12), (4.995,33.62,5.495,34.12), (4.995,33.62,5.495,34.12), (5.085,33.62,5.495,34.12)])
R(ota5t, metal2_pin, [(-13.97,5.36,-13.7,5.63), (-13.97,5.36,-13.7,5.63), (1.7,5.36,1.97,5.63), (1.7,5.36,1.97,5.63), (-7.97,18.03,-7.7,18.3), (7.7,18.03,7.97,18.3), (1.575,32.725,1.845,32.995), (-0.135,33.62,0.135,33.89)])
A(ota5t, via2, -14.365, 17.92, 0.26, 0.26, 17, 1, 0.8, 0)
A(ota5t, via2, 1.305, 17.92, 0.26, 0.26, 17, 1, 0.8, 0)
R(ota5t, via2, [(-1.44,-20.31,-1.18,-20.05), (3.8,-20.31,4.06,-20.05), (-4.06,-19.2,-3.8,-18.94), (1.18,-19.2,1.44,-18.94), (-4.68,-13.375,-4.42,-13.115), (0.56,-13.375,0.82,-13.115), (-3.44,-12.575,-3.18,-12.315), (1.8,-12.575,2.06,-12.315), (-2.06,-11.225,-1.8,-10.965), (3.18,-11.225,3.44,-10.965), (-0.82,-10.425,-0.56,-10.165), (4.42,-10.425,4.68,-10.165), (-19.62,-7.42,-19.36,-7.16), (7.705,-7.42,7.965,-7.16), (19.36,-6.62,19.62,-6.36), (-7.965,-6.32,-7.705,-6.06), (-7.965,-5.52,-7.705,-5.26), (7.705,-5.52,7.965,-5.26), (-18.52,-4.22,-18.26,-3.96), (18.26,-4.22,18.52,-3.96), (-21.22,5.25,-20.96,5.51), (20.96,5.25,21.22,5.51), (-20.42,7.65,-20.16,7.91), (20.16,7.65,20.42,7.91), (-18.52,17.12,-18.26,17.38), (18.26,17.12,18.52,17.38), (-19.62,17.92,-19.36,18.18), (19.36,17.92,19.62,18.18), (-20.42,20.36,-20.16,20.62), (20.96,20.36,21.22,20.62), (-21.22,21.16,-20.96,21.42), (20.16,21.16,20.42,21.42), (-2.675,24.085,-2.415,24.345), (-2.675,25.195,-2.415,25.455), (2.865,29.78,3.125,30.04), (-2.675,30.58,-2.415,30.84), (-1.175,30.58,-0.915,30.84), (2.865,31.93,3.125,32.19), (0.915,32.73,1.175,32.99), (2.865,33.74,3.125,34)])
A(ota5t, via3, -14.365, 17.92, 0.26, 0.26, 17, 1, 0.8, 0)
A(ota5t, via3, 1.305, 17.92, 0.26, 0.26, 17, 1, 0.8, 0)
R(ota5t, via3, [(5.29,-20.31,5.55,-20.05), (5.29,-19.2,5.55,-18.94), (-6.08,-13.375,-5.82,-13.115), (5.29,-12.575,5.55,-12.315), (-6.08,-11.225,-5.82,-10.965), (-1.175,30.58,-0.915,30.84), (0.915,32.73,1.175,32.99)])
A(ota5t, metal3, -14.485, 17.8, 0.5, 0.5, 17, 1, 0.8, 0)
A(ota5t, metal3, 1.185, 17.8, 0.5, 0.5, 17, 1, 0.8, 0)
R(ota5t, metal3, [(-4.27,-20.43,4.27,-19.93), (-1.65,-20.43,-0.97,-19.93), (-1.56,-20.43,-1.06,-19.93), (3.59,-20.43,4.27,-19.93), (3.68,-20.43,4.18,-19.93), (4.27,-20.43,5.67,-19.93), (5.17,-20.43,5.67,-19.93), (-4.27,-19.32,-3.59,-18.82), (-4.27,-19.32,4.27,-18.82), (-4.18,-19.32,-3.68,-18.82), (0.97,-19.32,1.65,-18.82), (1.06,-19.32,1.56,-18.82), (4.27,-19.32,5.67,-18.82), (5.17,-19.32,5.67,-18.82), (-6.2,-13.495,-5.7,-12.995), (-6.2,-13.495,-4.8,-12.995), (-4.8,-13.495,-4.3,-12.995), (-4.8,-13.495,-3.06,-12.995), (-4.8,-13.495,4.8,-12.995), (0.44,-13.495,0.94,-12.995), (0.44,-13.495,2.18,-12.995), (-4.8,-12.695,-3.06,-12.195), (-4.8,-12.695,4.8,-12.195), (-3.56,-12.695,-3.06,-12.195), (0.44,-12.695,2.18,-12.195), (1.68,-12.695,2.18,-12.195), (4.8,-12.695,5.67,-12.195), (5.17,-12.695,5.67,-12.195), (5.17,-12.695,5.67,-12.195), (-6.2,-11.345,-5.7,-10.845), (-6.2,-11.345,-4.8,-10.845), (-4.8,-11.345,4.8,-10.845), (-2.18,-11.345,-1.68,-10.845), (-2.18,-11.345,-0.44,-10.845), (3.06,-11.345,3.56,-10.845), (3.06,-11.345,4.8,-10.845), (-18.64,-10.545,-4.8,-10.045), (-18.64,-10.545,-18.14,-4.34), (-4.8,-10.545,4.8,-10.045), (-2.18,-10.545,-0.44,-10.045), (-0.94,-10.545,-0.44,-10.045), (3.06,-10.545,4.8,-10.045), (4.3,-10.545,4.8,-10.045), (4.8,-10.545,18.64,-10.045), (18.14,-10.545,18.64,-4.34), (-19.74,-7.54,-19.24,-7.04), (-19.74,-7.54,-19.24,-7.04), (-19.74,-7.54,-19.24,18.3), (7.585,-7.54,8.085,-7.04), (7.585,-7.04,8.085,-5.64), (19.24,-6.74,19.74,-6.24), (19.24,-6.74,19.74,-6.24), (19.24,-6.74,19.74,18.3), (-8.085,-6.44,-7.585,-5.94), (-8.085,-5.94,-7.585,-5.64), (-8.085,-5.64,-7.585,-5.14), (7.585,-5.64,8.085,-5.14), (-18.64,-4.34,-18.14,-3.84), (-18.64,-4.34,-18.14,-3.84), (-18.64,-4.34,-18.14,17.5), (18.14,-4.34,18.64,-3.84), (18.14,-4.34,18.64,-3.84), (18.14,-4.34,18.64,17.5), (-21.34,5.13,-20.84,5.63), (-21.34,5.13,-20.84,5.63), (-21.34,5.13,-20.84,21.54), (20.84,5.13,21.34,5.63), (20.84,5.13,21.34,5.63), (20.84,5.13,21.34,20.74), (-20.54,7.53,-20.04,8.03), (-20.54,7.53,-20.04,8.03), (-20.54,7.53,-20.04,20.74), (20.04,7.53,20.54,8.03), (20.04,7.53,20.54,8.03), (20.04,7.53,20.54,21.54), (-18.64,17,-18.14,17.5), (-18.64,17,-18.14,17.5), (18.14,17,18.64,17.5), (18.14,17,18.64,17.5), (-19.74,17.8,-19.24,18.3), (-19.74,17.8,-19.24,18.3), (19.24,17.8,19.74,18.3), (19.24,17.8,19.74,18.3), (-20.54,20.24,-20.04,20.74), (-20.54,20.24,-20.04,20.74), (20.84,20.24,21.34,20.74), (20.84,20.24,21.34,20.74), (-21.34,21.04,-20.84,21.54), (-21.34,21.04,-20.84,21.54), (20.04,21.04,20.54,21.54), (20.04,21.04,20.54,21.54), (-2.795,23.965,-2.295,24.465), (-2.795,23.965,-2.295,24.465), (-2.795,23.965,-2.295,25.575), (-2.795,25.075,-2.295,25.575), (-2.795,25.075,-2.295,25.575), (-2.795,25.575,-2.295,30.96), (2.745,29.66,3.245,30.16), (2.745,29.66,3.245,30.16), (2.745,29.66,3.245,32.31), (-2.795,30.46,-2.295,30.96), (-2.795,30.46,-2.295,30.96), (-1.295,30.46,-0.795,30.96), (2.745,31.81,3.245,32.31), (2.745,31.81,3.245,32.31), (2.745,32.31,3.245,33.62), (0.795,32.61,1.295,33.11), (2.745,33.62,3.245,34.12)])
P(ota5t, metal3, [(21.34,5.13),(21.34,5.13),(21.34,5.63),(21.34,5.63)],
  [(21.34,20.24),(21.34,20.24),(21.34,20.74),(21.34,20.74)],
  [(-20.84,5.13),(-20.84,5.13),(-20.84,5.63),(-20.84,5.63)],
  [(-20.84,21.04),(-20.84,21.04),(-20.84,21.54),(-20.84,21.54)],
  [(20.54,7.53),(20.54,7.53),(20.54,8.03),(20.54,8.03)],
  [(20.54,21.04),(20.54,21.04),(20.54,21.54),(20.54,21.54)],
  [(-20.04,7.53),(-20.04,7.53),(-20.04,8.03),(-20.04,8.03)],
  [(-20.04,20.24),(-20.04,20.24),(-20.04,20.74),(-20.04,20.74)],
  [(-19.24,-7.54),(-19.24,-7.54),(-19.24,-7.04),(-19.24,-7.04)],
  [(-19.24,17.8),(-19.24,17.8),(-19.24,18.3),(-19.24,18.3)],
  [(19.74,-6.74),(19.74,-6.74),(19.74,-6.24),(19.74,-6.24)],
  [(19.74,17.8),(19.74,17.8),(19.74,18.3),(19.74,18.3)],
  [(-18.14,-4.34),(-18.14,-4.34),(-18.14,-3.84),(-18.14,-3.84)],
  [(-18.14,17),(-18.14,17),(-18.14,17.5),(-18.14,17.5)],
  [(18.64,-4.34),(18.64,-4.34),(18.64,-3.84),(18.64,-3.84)],
  [(18.64,17),(18.64,17),(18.64,17.5),(18.64,17.5)],
  [(3.245,29.66),(3.245,29.66),(3.245,30.16),(3.245,30.16)],
  [(3.245,31.81),(3.245,31.81),(3.245,32.31),(3.245,32.31)],
  [(-2.295,23.965),(-2.295,23.965),(-2.295,24.465),(-2.295,24.465)],
  [(-2.295,25.075),(-2.295,25.075),(-2.295,25.575),(-2.295,25.575)])
R(ota5t, metal3_pin, [(4.53,-12.58,4.8,-12.31), (4.53,-12.58,4.8,-12.31)])
A(ota5t, metal4, -14.485, 17.8, 0.5, 0.5, 17, 1, 0.8, 0)
A(ota5t, metal4, 1.185, 17.8, 0.5, 0.5, 17, 1, 0.8, 0)
R(ota5t, metal4, [(5.17,-20.43,5.67,-19.93), (5.17,-20.43,5.67,-19.93), (5.17,-20.43,5.67,-18.82), (5.17,-19.32,5.67,-18.82), (5.17,-19.32,5.67,-18.82), (5.17,-18.82,5.67,-12.195), (-6.2,-13.495,-5.7,-12.995), (-6.2,-13.495,-5.7,-12.995), (-6.2,-13.495,-5.7,-10.845), (5.17,-12.695,5.67,-12.195), (5.17,-12.695,5.67,-12.195), (-6.2,-11.345,-5.7,-10.845), (-6.2,-11.345,-5.7,-10.845), (-15.17,17.8,-0.5,18.3), (-14.97,17.8,-0.7,18.3), (0.5,17.8,15.17,18.3), (0.7,17.8,14.97,18.3), (-1.445,18.05,-0.645,30.71), (0.645,18.05,1.445,32.86), (-1.445,30.46,-0.645,30.96), (-1.295,30.46,-0.795,30.96), (0.645,32.61,1.445,33.11), (0.795,32.61,1.295,33.11)])
P(ota5t, metal4, [(5.67,-20.43),(5.67,-20.43),(5.67,-19.93),(5.67,-19.93)],
  [(5.67,-19.32),(5.67,-19.32),(5.67,-18.82),(5.67,-18.82)],
  [(-5.7,-13.495),(-5.7,-13.495),(-5.7,-12.995),(-5.7,-12.995)],
  [(-5.7,-11.345),(-5.7,-11.345),(-5.7,-10.845),(-5.7,-10.845)])
R(ota5t, metal4_pin, [(-6.085,-13.495,-5.815,-13.225), (-6.085,-13.495,-5.815,-13.225)])
R(ota5t, lvpwell, [(-8.9,-21.535,8.9,-8.945), (-21.34,-7.54,21.34,21.54), (-18.14,-5.26,-0.08,5.75), (0.08,-5.26,18.14,5.75), (-18.14,7.41,-0.08,18.42), (0.08,7.41,18.14,18.42)])
ota5t.add(gdstk.Label('B', (0,19.505), layer=34, texttype=10))
ota5t.add(gdstk.Label('VSS', (-5.95,-13.36), layer=46, texttype=10))
ota5t.add(gdstk.Label('IBIAS', (4.665,-12.445), layer=42, texttype=10))
ota5t.add(gdstk.Label('VN', (-13.835,5.495), layer=36, texttype=10))
ota5t.add(gdstk.Label('VP', (1.835,5.495), layer=36, texttype=10))
ota5t.add(gdstk.Label('VDD', (0,33.755), layer=36, texttype=10))
ota5t.add(gdstk.Label('B', (0,19.505), layer=34, texttype=10))
ota5t.add(gdstk.Label('VSS', (-5.95,-13.36), layer=46, texttype=10))
ota5t.add(gdstk.Label('IBIAS', (4.665,-12.445), layer=42, texttype=10))
ota5t.add(gdstk.Label('OUT', (1.71,32.86), layer=36, texttype=10))
ota5t.add(gdstk.Label('VN', (-13.835,5.495), layer=36, texttype=10))
ota5t.add(gdstk.Label('VP', (1.835,5.495), layer=36, texttype=10))

lib.write_gds('ota5t.gds')
